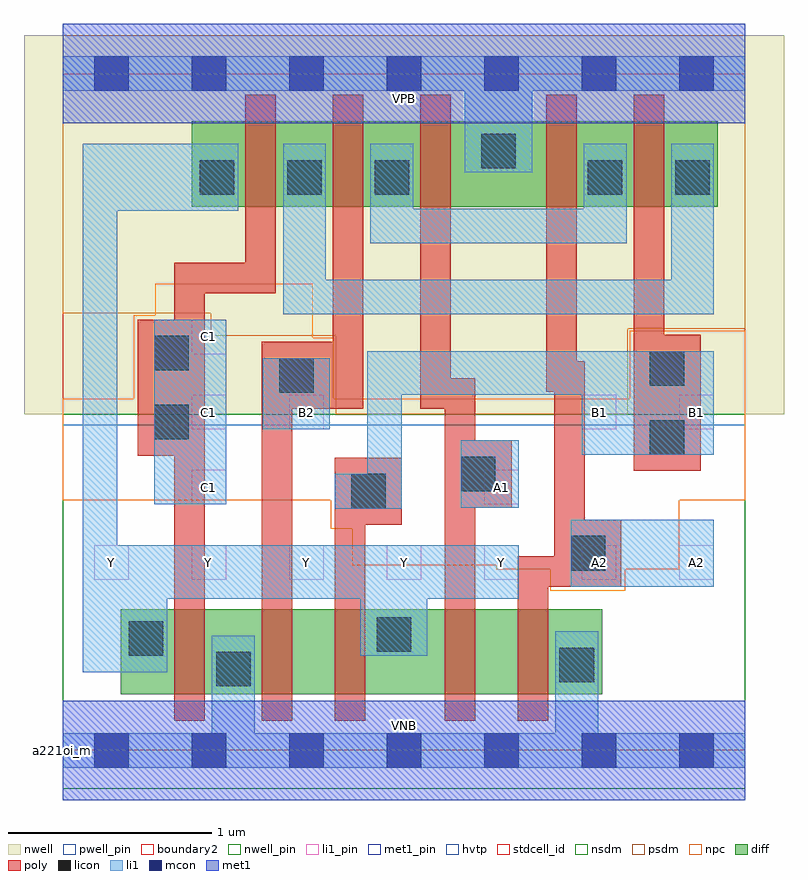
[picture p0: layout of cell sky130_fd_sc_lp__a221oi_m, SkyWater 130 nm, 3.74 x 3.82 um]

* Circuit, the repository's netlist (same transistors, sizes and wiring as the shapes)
* Copyright 2020 The SkyWater PDK Authors
*
* Licensed under the Apache License, Version 2.0 (the "License");
* you may not use this file except in compliance with the License.
* You may obtain a copy of the License at
*
*     https://www.apache.org/licenses/LICENSE-2.0
*
* Unless required by applicable law or agreed to in writing, software
* distributed under the License is distributed on an "AS IS" BASIS,
* WITHOUT WARRANTIES OR CONDITIONS OF ANY KIND, either express or implied.
* See the License for the specific language governing permissions and
* limitations under the License.
*
* SPDX-License-Identifier: Apache-2.0

.SUBCKT sky130_fd_sc_lp__a221oi_m A1 A2 B1 B2 C1 VGND VNB VPB VPWR Y
*.PININFO A1:I A2:I B1:I B2:I C1:I VGND:I VNB:I VPB:I VPWR:I Y:O
MMPA0 pndA A1 VPWR VPB sky130_fd_pr__pfet_01v8_hvt m=1 w=0.42U l=0.15U mult=1 sa=0.265
+ sb=0.265 sd=0.28 area=0.063 perim=1.14
MMPA1 pndA A2 VPWR VPB sky130_fd_pr__pfet_01v8_hvt m=1 w=0.42U l=0.15U mult=1 sa=0.265
+ sb=0.265 sd=0.28 area=0.063 perim=1.14
MMPB0 pndB B1 pndA VPB sky130_fd_pr__pfet_01v8_hvt m=1 w=0.42U l=0.15U mult=1 sa=0.265
+ sb=0.265 sd=0.28 area=0.063 perim=1.14
MMPB1 pndB B2 pndA VPB sky130_fd_pr__pfet_01v8_hvt m=1 w=0.42U l=0.15U mult=1 sa=0.265
+ sb=0.265 sd=0.28 area=0.063 perim=1.14
MMPC0 Y C1 pndB VPB sky130_fd_pr__pfet_01v8_hvt m=1 w=0.42U l=0.15U mult=1 sa=0.265
+ sb=0.265 sd=0.28 area=0.063 perim=1.14
MMNA0 Y A1 sndA1 VNB sky130_fd_pr__nfet_01v8 m=1 w=0.42U l=0.15U mult=1 sa=0.265
+ sb=0.265 sd=0.28 area=0.063 perim=1.14
MMNA1 sndA1 A2 VGND VNB sky130_fd_pr__nfet_01v8 m=1 w=0.42U l=0.15U mult=1 sa=0.265
+ sb=0.265 sd=0.28 area=0.063 perim=1.14
MMNB0 Y B1 sndB1 VNB sky130_fd_pr__nfet_01v8 m=1 w=0.42U l=0.15U mult=1 sa=0.265
+ sb=0.265 sd=0.28 area=0.063 perim=1.14
MMNB1 sndB1 B2 VGND VNB sky130_fd_pr__nfet_01v8 m=1 w=0.42U l=0.15U mult=1 sa=0.265
+ sb=0.265 sd=0.28 area=0.063 perim=1.14
MMNC0 Y C1 VGND VNB sky130_fd_pr__nfet_01v8 m=1 w=0.42U l=0.15U mult=1 sa=0.265
+ sb=0.265 sd=0.28 area=0.063 perim=1.14
.ENDS sky130_fd_sc_lp__a221oi_m

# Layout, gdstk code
import gdstk
lib = gdstk.Library(unit=1e-6, precision=1e-09)
def R(c, l, rs):  # rectangles x0, y0, x1, y1
    for r in rs: c.add(gdstk.rectangle(r[:2], r[2:], *l))
def A(c, l, x, y, w, h, nx, ny, dx, dy):  # array of equal rectangles
    R(c, l, [(x+i*dx, y+j*dy, x+i*dx+w, y+j*dy+h) for i in range(nx) for j in range(ny)])
def P(c, l, *ps):  # polygons
    for p in ps: c.add(gdstk.Polygon(p, *l))
nwell_pin = (64, 16)
nwell = (64, 20)
diff = (65, 20)
poly = (66, 20)
licon = (66, 44)
li1_pin = (67, 16)
li1 = (67, 20)
mcon = (67, 44)
met1_pin = (68, 16)
met1 = (68, 20)
hvtp = (78, 44)
stdcell_id = (81, 4)
nsdm = (93, 44)
psdm = (94, 20)
npc = (95, 20)
pwell_pin = (122, 16)
boundary2 = (236, 0)

sky130_fd_sc_lp__a221oi_ = lib.new_cell('sky130_fd_sc_lp__a221oi_m')
R(sky130_fd_sc_lp__a221oi_, nwell_pin, [(0,3.085,3.36,3.33)])
R(sky130_fd_sc_lp__a221oi_, nwell, [(-0.19,1.655,3.55,3.52)])
R(sky130_fd_sc_lp__a221oi_, diff, [(0.285,0.275,2.655,0.695), (0.635,2.675,3.225,3.095)])
P(sky130_fd_sc_lp__a221oi_, poly, [(1.05,3.225),(0.9,3.225),(0.9,2.4),(0.55,2.4),(0.55,2.12),(0.37,2.12),(0.37,1.45),(0.55,1.45),(0.55,0.145),(0.7,0.145),(0.7,2.25),(1.05,2.25)],
  [(1.48,3.225),(1.33,3.225),(1.33,2.01),(0.98,2.01),(0.98,0.145),(1.13,0.145),(1.13,1.68),(1.48,1.68)],
  [(1.67,1.44),(1.34,1.44),(1.34,0.145),(1.49,0.145),(1.49,1.11),(1.67,1.11)],
  [(2.21,1.525),(2.03,1.525),(2.03,1.83),(1.91,1.83),(1.91,3.225),(1.76,3.225),(1.76,1.68),(1.88,1.68),(1.88,0.145),(2.03,0.145),(2.03,1.195),(2.21,1.195)],
  [(2.75,1.135),(2.57,1.135),(2.57,1.915),(2.53,1.915),(2.53,3.225),(2.38,3.225),(2.38,1.765),(2.42,1.765),(2.42,0.955),(2.24,0.955),(2.24,0.145),(2.39,0.145),(2.39,0.805),(2.75,0.805)],
  [(3.14,2.045),(2.96,2.045),(2.96,3.225),(2.81,3.225),(2.81,1.375),(3.14,1.375)])
A(sky130_fd_sc_lp__a221oi_, licon, 0.675, 2.735, 0.17, 0.17, 3, 1, 0.43, 0)
R(sky130_fd_sc_lp__a221oi_, licon, [(0.755,0.315,0.925,0.485), (2.445,0.335,2.615,0.505), (0.325,0.465,0.495,0.635), (1.545,0.485,1.715,0.655), (2.5,0.885,2.67,1.055), (1.42,1.19,1.59,1.36), (1.96,1.275,2.13,1.445), (2.89,1.455,3.06,1.625), (0.45,1.53,0.62,1.7), (1.065,1.76,1.235,1.93), (2.89,1.795,3.06,1.965), (0.45,1.87,0.62,2.04), (2.585,2.735,2.755,2.905), (3.015,2.735,3.185,2.905), (2.06,2.865,2.23,3.035)])
A(sky130_fd_sc_lp__a221oi_, li1_pin, 0.155, 0.84, 0.17, 0.17, 7, 1, 0.48, 0)
A(sky130_fd_sc_lp__a221oi_, li1_pin, 0.635, 1.21, 0.17, 0.17, 1, 3, 0, 0.37)
R(sky130_fd_sc_lp__a221oi_, li1_pin, [(2.075,1.21,2.245,1.38), (1.115,1.58,1.285,1.75), (2.555,1.58,2.725,1.75), (3.035,1.58,3.205,1.75)])
R(sky130_fd_sc_lp__a221oi_, li1, [(2.5,0.805,3.205,1.135), (1.96,1.195,2.245,1.525), (0.45,1.21,0.805,2.12), (0.985,1.58,1.315,1.93)])
P(sky130_fd_sc_lp__a221oi_, li1, [(1.98,2.845),(1.98,3.245),(0,3.245),(0,3.415),(3.36,3.415),(3.36,3.245),(2.31,3.245),(2.31,2.845)],
  [(2.425,0.085),(2.425,0.585),(2.635,0.585),(2.635,0.085),(3.36,0.085),(3.36,-0.085),(0,-0.085),(0,0.085),(0.735,0.085),(0.735,0.565),(0.945,0.565),(0.945,0.085)],
  [(2.555,1.455),(2.555,1.75),(1.67,1.75),(1.67,1.19),(1.34,1.19),(1.34,1.36),(1.5,1.36),(1.5,1.965),(3.205,1.965),(3.205,1.455)],
  [(2.995,2.315),(2.995,2.985),(3.205,2.985),(3.205,2.145),(1.085,2.145),(1.085,2.985),(1.295,2.985),(1.295,2.315)],
  [(1.725,2.665),(2.565,2.665),(2.565,2.985),(2.775,2.985),(2.775,2.495),(1.515,2.495),(1.515,2.985),(1.725,2.985)],
  [(0.1,2.985),(0.865,2.985),(0.865,2.655),(0.27,2.655),(0.27,1.01),(2.245,1.01),(2.245,0.745),(1.795,0.745),(1.795,0.465),(1.465,0.465),(1.465,0.745),(0.515,0.745),(0.515,0.385),(0.1,0.385)])
A(sky130_fd_sc_lp__a221oi_, mcon, 0.155, -0.085, 0.17, 0.17, 7, 2, 0.48, 3.33)
R(sky130_fd_sc_lp__a221oi_, met1_pin, [(0,0,3.36,0.245), (0,3.085,3.36,3.33)])
R(sky130_fd_sc_lp__a221oi_, met1, [(0,-0.245,3.36,0.245), (0,3.085,3.36,3.575)])
R(sky130_fd_sc_lp__a221oi_, hvtp, [(0,1.6,3.36,3.33)])
R(sky130_fd_sc_lp__a221oi_, stdcell_id, [(0,0,3.36,3.33)])
R(sky130_fd_sc_lp__a221oi_, nsdm, [(0,-0.19,3.36,1.655)])
P(sky130_fd_sc_lp__a221oi_, psdm, [(3.36,3.52),(0,3.52),(0,2.15),(0.73,2.15),(0.73,2.04),(1.345,2.04),(1.345,1.655),(2.78,1.655),(2.78,2.075),(3.36,2.075)])
P(sky130_fd_sc_lp__a221oi_, npc, [(3.36,2.065),(2.79,2.065),(2.79,1.73),(1.335,1.73),(1.335,2.03),(1.23,2.03),(1.23,2.295),(0.455,2.295),(0.455,2.14),(0.35,2.14),(0.35,1.73),(0,1.73),(0,1.23),(1.32,1.23),(1.32,1.09),(1.425,1.09),(1.425,0.91),(2.135,0.91),(2.135,0.89),(2.4,0.89),(2.4,0.785),(2.77,0.785),(2.77,0.89),(3.035,0.89),(3.035,1.23),(3.36,1.23)])
R(sky130_fd_sc_lp__a221oi_, pwell_pin, [(0,0,3.36,0.245)])
R(sky130_fd_sc_lp__a221oi_, boundary2, [(0,0,3.36,3.33)])
sky130_fd_sc_lp__a221oi_.add(gdstk.Label('VNB', (1.68,0.123), layer=64, texttype=59))
sky130_fd_sc_lp__a221oi_.add(gdstk.Label('VPB', (1.68,3.208), layer=64, texttype=5))
sky130_fd_sc_lp__a221oi_.add(gdstk.Label('a221oi_m', (0,0), layer=83, texttype=44))
sky130_fd_sc_lp__a221oi_.add(gdstk.Label('VPWR', (1.68,3.208), layer=68, texttype=5))
sky130_fd_sc_lp__a221oi_.add(gdstk.Label('VGND', (1.68,0.123), layer=68, texttype=5))
sky130_fd_sc_lp__a221oi_.add(gdstk.Label('A1', (2.16,1.295), layer=67, texttype=5))
sky130_fd_sc_lp__a221oi_.add(gdstk.Label('A2', (2.64,0.925), layer=67, texttype=5))
sky130_fd_sc_lp__a221oi_.add(gdstk.Label('A2', (3.12,0.925), layer=67, texttype=5))
sky130_fd_sc_lp__a221oi_.add(gdstk.Label('B2', (1.2,1.665), layer=67, texttype=5))
sky130_fd_sc_lp__a221oi_.add(gdstk.Label('C1', (0.72,1.295), layer=67, texttype=5))
sky130_fd_sc_lp__a221oi_.add(gdstk.Label('C1', (0.72,1.665), layer=67, texttype=5))
sky130_fd_sc_lp__a221oi_.add(gdstk.Label('C1', (0.72,2.035), layer=67, texttype=5))
sky130_fd_sc_lp__a221oi_.add(gdstk.Label('B1', (2.64,1.665), layer=67, texttype=5))
sky130_fd_sc_lp__a221oi_.add(gdstk.Label('B1', (3.12,1.665), layer=67, texttype=5))
sky130_fd_sc_lp__a221oi_.add(gdstk.Label('Y', (0.24,0.925), layer=67, texttype=5))
sky130_fd_sc_lp__a221oi_.add(gdstk.Label('Y', (0.72,0.925), layer=67, texttype=5))
sky130_fd_sc_lp__a221oi_.add(gdstk.Label('Y', (1.2,0.925), layer=67, texttype=5))
sky130_fd_sc_lp__a221oi_.add(gdstk.Label('Y', (1.68,0.925), layer=67, texttype=5))
sky130_fd_sc_lp__a221oi_.add(gdstk.Label('Y', (2.16,0.925), layer=67, texttype=5))

lib.write_gds('sky130_fd_sc_lp__a221oi_m.gds')
